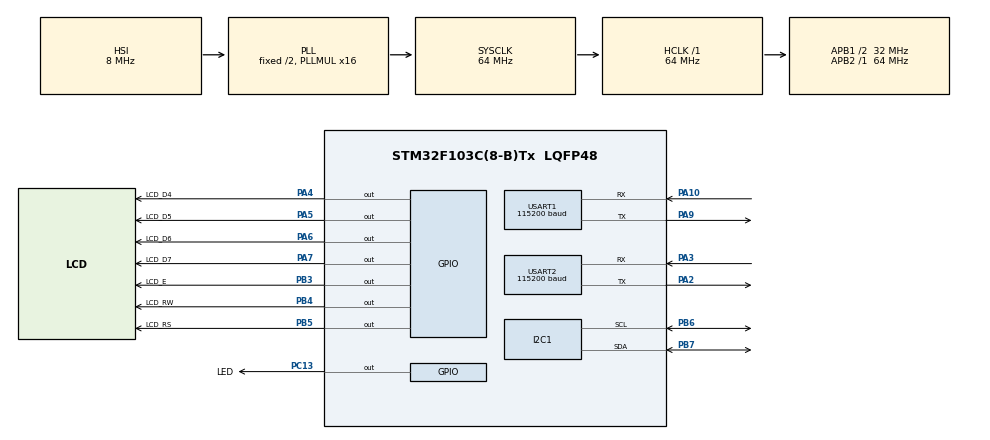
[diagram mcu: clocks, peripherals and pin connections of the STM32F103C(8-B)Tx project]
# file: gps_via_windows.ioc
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I2C1.I2C_Mode=I2C_Fast
Mcu.Family=STM32F1
Mcu.Name=STM32F103C(8-B)Tx
Mcu.Package=LQFP48
NVIC.PriorityGroup=NVIC_PRIORITYGROUP_4
NVIC.USART1_IRQn=true\:0\:0\:false\:false\:true\:true\:true
PA10.Mode=Asynchronous
PA10.Signal=USART1_RX
PA13.Mode=Serial_Wire
PA13.Signal=SYS_JTMS-SWDIO
PA14.Mode=Serial_Wire
PA14.Signal=SYS_JTCK-SWCLK
PA2.Mode=Asynchronous
PA2.Signal=USART2_TX
PA3.Mode=Asynchronous
PA3.Signal=USART2_RX
PA4.GPIO_Label=LCD_D4
PA4.Signal=GPIO_Output
PA5.GPIO_Label=LCD_D5
PA5.Signal=GPIO_Output
PA6.GPIO_Label=LCD_D6
PA6.Signal=GPIO_Output
PA7.GPIO_Label=LCD_D7
PA7.Signal=GPIO_Output
PA9.Mode=Asynchronous
PA9.Signal=USART1_TX
PB3.GPIO_Label=LCD_E
PB3.Signal=GPIO_Output
PB4.GPIO_Label=LCD_RW
PB4.Signal=GPIO_Output
PB5.GPIO_Label=LCD_RS
PB5.Signal=GPIO_Output
PB6.Mode=I2C
PB6.Signal=I2C1_SCL
PB7.Mode=I2C
PB7.Signal=I2C1_SDA
PC13-TAMPER-RTC.GPIO_Label=LED
PC13-TAMPER-RTC.Signal=GPIO_Output
ProjectManager.HeapSize=0x200
ProjectManager.StackSize=0x400
ProjectManager.TargetToolchain=STM32CubeIDE
RCC.AHBFreq_Value=64000000
RCC.APB1CLKDivider=RCC_HCLK_DIV2
RCC.APB1Freq_Value=32000000
RCC.APB1TimFreq_Value=64000000
RCC.APB2Freq_Value=64000000
RCC.APB2TimFreq_Value=64000000
RCC.HCLKFreq_Value=64000000
RCC.PLLMUL=RCC_PLL_MUL16
RCC.SYSCLKFreq_VALUE=64000000
RCC.SYSCLKSource=RCC_SYSCLKSOURCE_PLLCLK
RCC.USBFreq_Value=64000000
USART1.BaudRate=115200
USART1.VirtualMode=VM_ASYNC
USART2.BaudRate=115200
USART2.VirtualMode=VM_ASYNC
board=custom

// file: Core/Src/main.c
/* USER CODE BEGIN Header */
/**
  ******************************************************************************
  * @file           : main.c
  * @brief          : Main program body
  ******************************************************************************
  * @attention
  *
  * <h2><center>&copy; Copyright (c) 2021 STMicroelectronics.
  * All rights reserved.</center></h2>
  *
  * This software component is licensed by ST under BSD 3-Clause license,
  * the "License"; You may not use this file except in compliance with the
  * License. You may obtain a copy of the License at:
  *                        opensource.org/licenses/BSD-3-Clause
  *
  ******************************************************************************
  */
/* USER CODE END Header */
#include "main.h"

/* USER CODE BEGIN Includes */
#include "GPS.h"
//#include "LCD_H44780.h"
/* USER CODE END Includes */

I2C_HandleTypeDef hi2c1;

UART_HandleTypeDef huart1;
UART_HandleTypeDef huart2;

void SystemClock_Config(void);
static void MX_GPIO_Init(void);
static void MX_USART1_UART_Init(void);
static void MX_USART2_UART_Init(void);
static void MX_I2C1_Init(void);

/* USER CODE BEGIN 0 */

long int tick = 29380;

char printbuffer[300];

bool printed;

//Bei tests auf dem PC stellte ich fest das es mit einem teststring funktionierte
//GPS.message = "sdfddsffdsfdsdsfddfd$GNGGA,185824.00,2605.0247881,N,08014.3097082,W,4,14,0.7,-24.343,M,,,0.59,0402*36\rdfseeerddddqq3w\n"; //Dummy Wert schreiben
//Also kommt checksummen berechnung und parsing mit müll vor und nach den daten klar

void HAL_UART_RxCpltCallback(UART_HandleTypeDef *huart)
{
  HAL_UART_Receive_IT(&huart1, Rx_data, RX_BUFFER_SIZE);
  GPS.message=Rx_data;
  update = true;
  HAL_GPIO_TogglePin(LED_GPIO_Port, LED_Pin);
}
/* USER CODE END 0 */

int main(void)
{

  /* MCU Configuration--------------------------------------------------------*/

  /* Reset of all peripherals, Initializes the Flash interface and the Systick. */
  HAL_Init();

  /* Configure the system clock */
  SystemClock_Config();

  /* Initialize all configured peripherals */
  MX_GPIO_Init();
  MX_USART1_UART_Init();
  MX_USART2_UART_Init();
  MX_I2C1_Init();
  /* USER CODE BEGIN 2 */
  HAL_UART_Receive_IT (&huart1, Rx_data, RX_BUFFER_SIZE);
  uint8_t ubxcfgrate[] = { // UBX-CFG-RATE 10 Hz Measurement/Navigation

  0xB5,0x62,0x06,0x08,0x06,0x00,

  0x64,0x00,0x01,0x00,0x01,0x00, // Payload

  0x7A,0x12 }; // Checksum
  HAL_UART_Transmit(&huart1,(uint8_t *)ubxcfgrate,14,200);
  /* USER CODE END 2 */

  /* Infinite loop */
  /* USER CODE BEGIN WHILE */
  while (1)
  {

	  	  if(update){
	  		  update=false;
	  		  GPS_p();
	  		  printed=false;
	  	  }
	  	  long int test;
	      test = HAL_GetTick();                                                        //Hole Zeit von Systicktimer
	      if(!((GPS.FIXTIME+1000) >test)){GPS.valid = false;}                          //Fix verfällt noch 1 sekunde

	    if(GPS.valid&& !printed){
	    	////printf("%d:%d:%d.%d \n %lf  %c\n %lf  %c\n", GPS.hours,GPS.mins,GPS.secs,GPS.millis,GPS.latitude,GPS.NS_ind, GPS.longitude,GPS.EW_ind);
	    	sprintf(printbuffer,"%d:%d:%d.%d \n latitude:%lf NS_ind: %c\n longitude:%lf SE_ind: %c\nHDOP : %lf\nSats : %d\nAltitude:  %lf M\n", GPS.hour,GPS.min,GPS.sec,GPS.millis,GPS.lat,GPS.NS_ind, GPS.lon,GPS.EW_ind,GPS.hdop,GPS.sats,GPS.alt);
	    	//HAL_UART_Transmit(&huart2,(uint8_t *)GPS.message,strlen(GPS.message),1000);
	    	HAL_UART_Transmit(&huart2,(uint8_t *) printbuffer,strlen(printbuffer),100);
	        sprintf(printbuffer,"indexbegin: %d       indexend:  %d\nChecksum: 0x%x    Berechnete Checksum: 0x%x\n",GPS.index_begin,GPS.index_end,GPS.checksum,GPS.checksum_calc);
	        HAL_UART_Transmit(&huart2,(uint8_t*) printbuffer,strlen(printbuffer),200);
	        printed = true;
	    	switch (GPS.fixtype){
	        	case 0:
	        	////printf("\n no fix\n");
	       	 	break;
	        	case 1:
	        	////printf("\n 2D fix\n");
	        	break;
	        	case 2:
	       		////printf("\n 3D fix\n");
	        	break;
	        default:
	        	////printf ("ERROR\n");
	        	HAL_Delay(100);
	    	}

	    }
	    else{
		    ////printf("NO VALID GPS DATA FOUND");
		}

    /* USER CODE END WHILE */

  }
}

void SystemClock_Config(void)
{
  RCC_OscInitTypeDef RCC_OscInitStruct = {0};
  RCC_ClkInitTypeDef RCC_ClkInitStruct = {0};

  /** Initializes the RCC Oscillators according to the specified parameters
  * in the RCC_OscInitTypeDef structure.
  */
  RCC_OscInitStruct.OscillatorType = RCC_OSCILLATORTYPE_HSI;
  RCC_OscInitStruct.HSIState = RCC_HSI_ON;
  RCC_OscInitStruct.HSICalibrationValue = RCC_HSICALIBRATION_DEFAULT;
  RCC_OscInitStruct.PLL.PLLState = RCC_PLL_ON;
  RCC_OscInitStruct.PLL.PLLSource = RCC_PLLSOURCE_HSI_DIV2;
  RCC_OscInitStruct.PLL.PLLMUL = RCC_PLL_MUL16;
  if (HAL_RCC_OscConfig(&RCC_OscInitStruct) != HAL_OK)
  {
    Error_Handler();
  }
  /** Initializes the CPU, AHB and APB buses clocks
  */
  RCC_ClkInitStruct.ClockType = RCC_CLOCKTYPE_HCLK|RCC_CLOCKTYPE_SYSCLK
                              |RCC_CLOCKTYPE_PCLK1|RCC_CLOCKTYPE_PCLK2;
  RCC_ClkInitStruct.SYSCLKSource = RCC_SYSCLKSOURCE_PLLCLK;
  RCC_ClkInitStruct.AHBCLKDivider = RCC_SYSCLK_DIV1;
  RCC_ClkInitStruct.APB1CLKDivider = RCC_HCLK_DIV2;
  RCC_ClkInitStruct.APB2CLKDivider = RCC_HCLK_DIV1;

  if (HAL_RCC_ClockConfig(&RCC_ClkInitStruct, FLASH_LATENCY_2) != HAL_OK)
  {
    Error_Handler();
  }
}

static void MX_I2C1_Init(void)
{

  hi2c1.Instance = I2C1;
  hi2c1.Init.ClockSpeed = 400000;
  hi2c1.Init.DutyCycle = I2C_DUTYCYCLE_2;
  hi2c1.Init.OwnAddress1 = 0;
  hi2c1.Init.AddressingMode = I2C_ADDRESSINGMODE_7BIT;
  hi2c1.Init.DualAddressMode = I2C_DUALADDRESS_DISABLE;
  hi2c1.Init.OwnAddress2 = 0;
  hi2c1.Init.GeneralCallMode = I2C_GENERALCALL_DISABLE;
  hi2c1.Init.NoStretchMode = I2C_NOSTRETCH_DISABLE;
  if (HAL_I2C_Init(&hi2c1) != HAL_OK)
  {
    Error_Handler();
  }

}

static void MX_USART1_UART_Init(void)
{

  huart1.Instance = USART1;
  huart1.Init.BaudRate = 115200;
  huart1.Init.WordLength = UART_WORDLENGTH_8B;
  huart1.Init.StopBits = UART_STOPBITS_1;
  huart1.Init.Parity = UART_PARITY_NONE;
  huart1.Init.Mode = UART_MODE_TX_RX;
  huart1.Init.HwFlowCtl = UART_HWCONTROL_NONE;
  huart1.Init.OverSampling = UART_OVERSAMPLING_16;
  if (HAL_UART_Init(&huart1) != HAL_OK)
  {
    Error_Handler();
  }

}

static void MX_USART2_UART_Init(void)
{

  huart2.Instance = USART2;
  huart2.Init.BaudRate = 115200;
  huart2.Init.WordLength = UART_WORDLENGTH_8B;
  huart2.Init.StopBits = UART_STOPBITS_1;
  huart2.Init.Parity = UART_PARITY_NONE;
  huart2.Init.Mode = UART_MODE_TX_RX;
  huart2.Init.HwFlowCtl = UART_HWCONTROL_NONE;
  huart2.Init.OverSampling = UART_OVERSAMPLING_16;
  if (HAL_UART_Init(&huart2) != HAL_OK)
  {
    Error_Handler();
  }

}

static void MX_GPIO_Init(void)
{
  GPIO_InitTypeDef GPIO_InitStruct = {0};

  /* GPIO Ports Clock Enable */
  __HAL_RCC_GPIOC_CLK_ENABLE();
  __HAL_RCC_GPIOA_CLK_ENABLE();
  __HAL_RCC_GPIOB_CLK_ENABLE();

  /*Configure GPIO pin Output Level */
  HAL_GPIO_WritePin(LED_GPIO_Port, LED_Pin, GPIO_PIN_RESET);

  /*Configure GPIO pin Output Level */
  HAL_GPIO_WritePin(GPIOA, LCD_D4_Pin|LCD_D5_Pin|LCD_D6_Pin|LCD_D7_Pin, GPIO_PIN_RESET);

  /*Configure GPIO pin Output Level */
  HAL_GPIO_WritePin(GPIOB, LCD_E_Pin|LCD_RW_Pin|LCD_RS_Pin, GPIO_PIN_RESET);

  /*Configure GPIO pin : LED_Pin */
  GPIO_InitStruct.Pin = LED_Pin;
  GPIO_InitStruct.Mode = GPIO_MODE_OUTPUT_PP;
  GPIO_InitStruct.Pull = GPIO_NOPULL;
  GPIO_InitStruct.Speed = GPIO_SPEED_FREQ_LOW;
  HAL_GPIO_Init(LED_GPIO_Port, &GPIO_InitStruct);

  /*Configure GPIO pins : LCD_D4_Pin LCD_D5_Pin LCD_D6_Pin LCD_D7_Pin */
  GPIO_InitStruct.Pin = LCD_D4_Pin|LCD_D5_Pin|LCD_D6_Pin|LCD_D7_Pin;
  GPIO_InitStruct.Mode = GPIO_MODE_OUTPUT_PP;
  GPIO_InitStruct.Pull = GPIO_NOPULL;
  GPIO_InitStruct.Speed = GPIO_SPEED_FREQ_LOW;
  HAL_GPIO_Init(GPIOA, &GPIO_InitStruct);

  /*Configure GPIO pins : LCD_E_Pin LCD_RW_Pin LCD_RS_Pin */
  GPIO_InitStruct.Pin = LCD_E_Pin|LCD_RW_Pin|LCD_RS_Pin;
  GPIO_InitStruct.Mode = GPIO_MODE_OUTPUT_PP;
  GPIO_InitStruct.Pull = GPIO_NOPULL;
  GPIO_InitStruct.Speed = GPIO_SPEED_FREQ_LOW;
  HAL_GPIO_Init(GPIOB, &GPIO_InitStruct);

}

void Error_Handler(void)
{
  __disable_irq();
  while (1)
  {
  }
}

/************************ (C) COPYRIGHT STMicroelectronics *****END OF FILE****/
